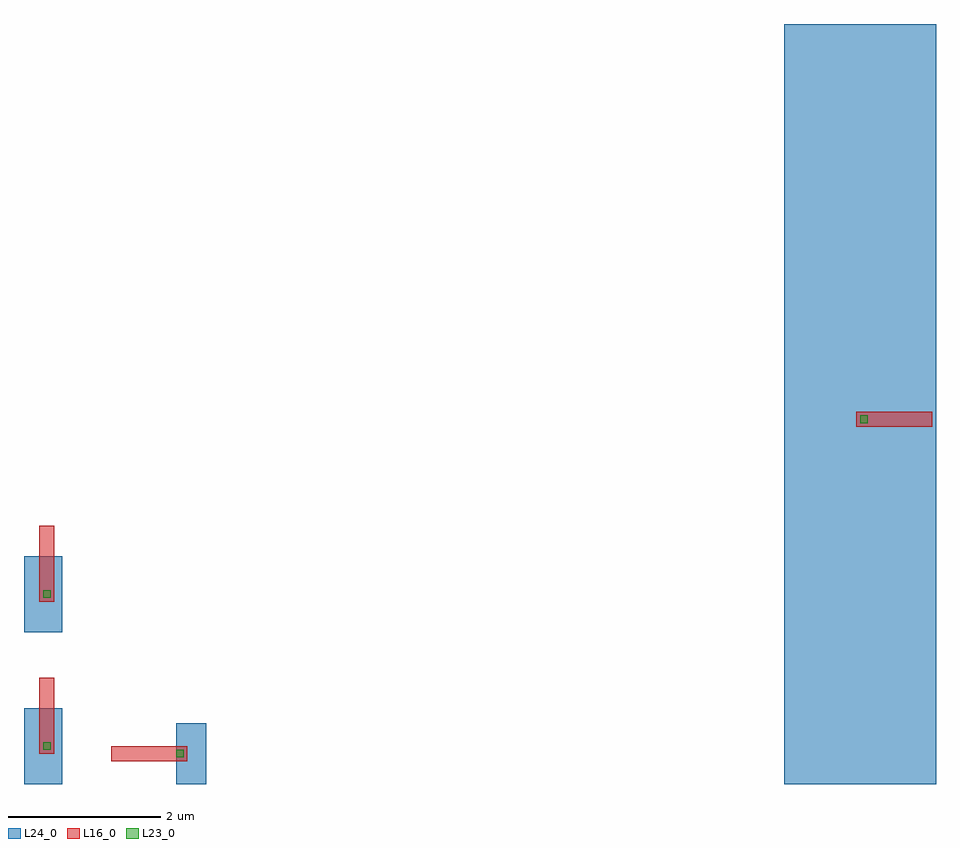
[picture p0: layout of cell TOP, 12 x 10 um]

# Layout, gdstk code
from math import pi, radians
import gdstk
lib = gdstk.Library(unit=1e-6, precision=1e-09)
def R(c, l, rs):  # rectangles x0, y0, x1, y1
    for r in rs: c.add(gdstk.rectangle(r[:2], r[2:], *l))
L16_0 = (16, 0)
L23_0 = (23, 0)
L24_0 = (24, 0)

c_a = lib.new_cell('A')
R(c_a, L16_0, [(0,0,0.2,1)])
R(c_a, L23_0, [(0.05,0.05,0.15,0.15)])

c_pd = lib.new_cell('PD')
R(c_pd, L24_0, [(0,0,0.5,1)])
c_pd.add(gdstk.Reference(c_a, (0.2,0.4)))

pd_1 = lib.new_cell('PD$1')
R(pd_1, L24_0, [(0,0,0.4,0.8)])
pd_1.add(gdstk.Reference(c_a, (0.15,0.3), rotation=pi/2))

top_1 = lib.new_cell('TOP$1')
top_1.add(gdstk.Reference(c_pd, (0,0)))
top_1.add(gdstk.Reference(c_pd, (0,2)))
top_1.add(gdstk.Reference(pd_1, (2,0)))

pd_2 = lib.new_cell('PD$2')
R(pd_2, L24_0, [(0,0,2,10)])
pd_2.add(gdstk.Reference(c_a, (0.95,4.9), rotation=3*pi/2))

top = lib.new_cell('TOP')
top.add(gdstk.Reference(top_1, (0,0)))
top.add(gdstk.Reference(pd_2, (10,0)))

lib.write_gds('TOP.gds')
